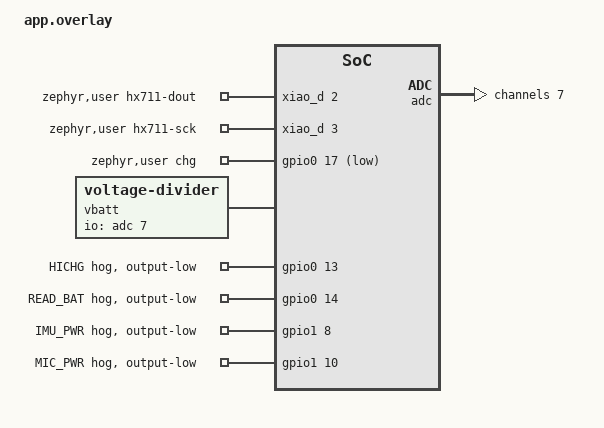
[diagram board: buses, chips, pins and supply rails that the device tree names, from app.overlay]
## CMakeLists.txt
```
# SPDX-FileCopyrightText: 2026 Hajo Harms
# SPDX-License-Identifier: MIT
#
# GasBee auf Seeed XIAO nRF52840 (nRF Connect SDK v3.4.1, Board xiao_ble)

cmake_minimum_required(VERSION 3.20.0)

find_package(Zephyr REQUIRED HINTS $ENV{ZEPHYR_BASE})
project(gasbee_nrf)

target_sources(app PRIVATE
    src/main.c
    src/hx711.c
    src/ble_gas.c
    src/battery.c
)
target_sources_ifdef(CONFIG_GASBEE_STATUS_LED app PRIVATE src/status_led.c)
```

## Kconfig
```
# SPDX-FileCopyrightText: 2026 Hajo Harms
# SPDX-License-Identifier: MIT
#
# GasBee nRF – projekteigene Kconfig-Optionen

menu "GasBee"

config GASBEE_STATUS_LED
	bool "RGB-Status-LED (Testmodus)"
	default n
	help
	  Zeigt den Betriebszustand auf der RGB-LED des XIAO:
	  Blau blinkt = Advertising, Blau an = verbunden,
	  Rot an = HX711 nicht bereit, Grün Blitz = Messung gesendet,
	  Grün 3 Blitze = Tare übernommen.
	  Einschalten mit -DEXTRA_CONF_FILE=debug.conf.

config GASBEE_MEASURE_INTERVAL_S
	int "Messintervall in Sekunden"
	default 300
	range 15 3600
	help
	  Abstand zwischen zwei Messzyklen (HX711 + Akku). Nach jeder Messung
	  folgt ein Advertising-Burst, danach schlafen HX711 und nRF.
	  Testmodus (debug.conf): 60 s.

endmenu

source "Kconfig.zephyr"
```

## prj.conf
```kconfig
# GasBee nRF – Projektkonfiguration (Normalbetrieb)
# UF2-Ausgabe und GPIO bringt das Board xiao_ble mit.

# Stromsparen: kein USB-Stack, keine USB-Konsole, kein Log.
# Gemessen 2026-10-18/19 im Akkubetrieb (Ruhestrom zwischen den Messungen):
#   mit USB-CDC-Konsole + Log: ca. 1,9 mA, ohne: 6,7 µA.
# Testmodus (debug.conf) schaltet USB-Konsole und Log wieder ein.
# Flashen per UF2-Bootloader und die VBUS-Erkennung (Konfigurationsmodus)
# funktionieren unabhängig davon.
CONFIG_BOARD_SERIAL_BACKEND_CDC_ACM=n
CONFIG_USB_DEVICE_STACK_NEXT=n
CONFIG_CDC_ACM_SERIAL_INITIALIZE_AT_BOOT=n
CONFIG_SERIAL=n
CONFIG_CONSOLE=n
CONFIG_UART_CONSOLE=n
CONFIG_LOG=n

# Bluetooth: Peripheral mit GATT-Server
CONFIG_BT=y
CONFIG_BT_PERIPHERAL=y
CONFIG_BT_DEVICE_NAME="GasBee"
CONFIG_BT_MAX_CONN=1
# Advertising-Set mit fester Paketzahl (Burst), Pakete bleiben Legacy-PDUs
CONFIG_BT_EXT_ADV=y

# Kalibrierung persistent (Settings auf NVS, Partition storage)
CONFIG_FLASH=y
CONFIG_FLASH_MAP=y
CONFIG_NVS=y
CONFIG_SETTINGS=y
CONFIG_SETTINGS_NVS=y

# Akkuspannung: voltage-divider (Sensor-API) auf SAADC AIN7, siehe app.overlay
CONFIG_SENSOR=y
CONFIG_ADC=y

# Stromsparen: Gerätezustände steuerbar, damit der unbenutzte QSPI-Flash
# (P25Q16H) beim Start in Deep Power-Down gehen kann (nur mit PM_DEVICE)
CONFIG_PM_DEVICE=y

# Stack für main (Settings, im Testmodus Float-Logging)
CONFIG_MAIN_STACK_SIZE=2048
```

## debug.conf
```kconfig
# GasBee nRF – Testmodus, zusätzlich zu prj.conf
# Build: west build ... -- -DEXTRA_CONF_FILE=debug.conf
# Status-LED, Messintervall 60 s, USB-CDC-Konsole + Log (/dev/ttyGASBEE_*).
# Kostet im Akkubetrieb ca. 1,9 mA statt 6,7 µA Ruhestrom – nur zum Testen.

CONFIG_GASBEE_STATUS_LED=y
CONFIG_GASBEE_MEASURE_INTERVAL_S=60

# USB-CDC-Konsole und Log (in prj.conf abgeschaltet)
CONFIG_BOARD_SERIAL_BACKEND_CDC_ACM=y
CONFIG_USB_DEVICE_STACK_NEXT=y
CONFIG_CDC_ACM_SERIAL_INITIALIZE_AT_BOOT=y
CONFIG_SERIAL=y
CONFIG_CONSOLE=y
CONFIG_UART_CONSOLE=y
CONFIG_LOG=y
CONFIG_LOG_DEFAULT_LEVEL=3
CONFIG_CBPRINTF_FP_SUPPORT=y
```

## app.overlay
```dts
/*
 * SPDX-FileCopyrightText: 2026 Hajo Harms
 * SPDX-License-Identifier: MIT
 *
 * GasBee nRF – HX711-Pins am XIAO-Connector
 *   DOUT   → D2 (P0.28), Pull-Up: offener Pin = "nicht bereit"
 *   PD_SCK → D3 (P0.29), High > 60 µs = HX711 Power-Down zwischen den Messungen
 * HX711 an 3V3 versorgen (nRF52840-GPIOs sind nicht 5-V-tolerant).
 *
 * Akkumessung laut Seeed-Schaltplan XIAO nRF52840 Sense:
 *   VBAT ─ R16 1 MΩ ─┬─ R17 510 kΩ ─ P0.14 (READ_BAT, "output sink only")
 *                    └─ P0.31 / AIN7
 * P0.14 bleibt per gpio-hog dauerhaft Low (Seeed-Empfehlung, sonst kann
 * P0.31 über 3,6 V kommen). Dauerstrom über den Teiler ca. 3 µA.
 */

#include <zephyr/dt-bindings/adc/nrf-saadc.h>

/ {
	zephyr,user {
		hx711-dout-gpios = <&xiao_d 2 (GPIO_ACTIVE_HIGH | GPIO_PULL_UP)>;
		hx711-sck-gpios = <&xiao_d 3 GPIO_ACTIVE_HIGH>;
		/* BQ25101 ~CHG (Schaltplan: P0.17_~{CHG}, Open-Drain mit Lade-LED 2,2 kΩ).
		 * Aktiv = lädt. Ohne USB ist der Lader stromlos → Pull-Up liest "lädt nicht". */
		chg-gpios = <&gpio0 17 (GPIO_ACTIVE_LOW | GPIO_PULL_UP)>;
	};

	vbatt: vbatt {
		compatible = "voltage-divider";
		io-channels = <&adc 7>;
		output-ohms = <510000>;
		full-ohms = <(1000000 + 510000)>;
	};
};

&gpio0 {
	/* Ladestrom BQ25101 (Schaltplan: ISET – R18 2,7 kΩ – GND, ISET – R12 2,7 kΩ – P0.13_HICHG).
	 * P0.13 Low → R12 parallel → 1,35 kΩ ≈ 100 mA; hochohmig ≈ 50 mA.
	 * Nicht High setzen: dann speisen 3,3 V über R12 in ISET.
	 * Akku 1000 mAh → 0,1C. */
	hichg: hichg {
		gpio-hog;
		gpios = <13 GPIO_ACTIVE_HIGH>;
		output-low;
		line-name = "HICHG";
	};

	read_bat_en: read-bat-en {
		gpio-hog;
		gpios = <14 GPIO_ACTIVE_HIGH>;
		output-low;
		line-name = "READ_BAT";
	};
};

/* Stromsparen: UART0 (D6/D7) wird nicht genutzt, das Log läuft über USB-CDC.
 * Der UARTE-Treiber startet sonst den Empfang beim Init und hält damit den
 * HF-Takt dauerhaft an. */
&uart0 {
	status = "disabled";
};

/* Sense-Variante: IMU (LSM6DS3TR-C) und Mikrofon werden direkt aus GPIOs
 * versorgt (Boardfile xiao_ble_nrf52840_sense.dts: P1.08, P1.10). Wir bauen
 * für xiao_ble, dort sind die Pins nicht definiert → fest Low = sicher aus. */
&gpio1 {
	imu_pwr_off: imu-pwr-off {
		gpio-hog;
		gpios = <8 GPIO_ACTIVE_HIGH>;
		output-low;
		line-name = "IMU_PWR";
	};

	mic_pwr_off: mic-pwr-off {
		gpio-hog;
		gpios = <10 GPIO_ACTIVE_HIGH>;
		output-low;
		line-name = "MIC_PWR";
	};
};

/* Das Boardfile legt pwm0 auf P0.17. Der Pin ist hier der Ladestatus-Eingang. */
&pwm0 {
	status = "disabled";
};

&adc {
	#address-cells = <1>;
	#size-cells = <0>;

	/* AIN7 = P0.31. Teiler-Ausgang max. 4,2 V × 510k/1510k ≈ 1,42 V,
	 * Gain 1/3 mit 0,6-V-Referenz ergibt 1,8 V Messbereich.
	 * Quellimpedanz ca. 340 kΩ → 40 µs Erfassungszeit (nRF-SAADC bis 800 kΩ). */
	channel@7 {
		reg = <7>;
		zephyr,gain = "ADC_GAIN_1_3";
		zephyr,reference = "ADC_REF_INTERNAL";
		zephyr,acquisition-time = <ADC_ACQ_TIME(ADC_ACQ_TIME_MICROSECONDS, 40)>;
		zephyr,input-positive = <NRF_SAADC_AIN7>;
		zephyr,resolution = <12>;
		zephyr,oversampling = <4>;
	};
};
```

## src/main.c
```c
/*
 * SPDX-FileCopyrightText: 2025-2026 Hajo Harms
 *
 * SPDX-License-Identifier: MIT
 */

/**
 * main.c – GasBee nRF Hauptprogramm
 *
 * Seeed XIAO nRF52840: HX711 Einzelkanal + Akku → BLE Advertising (Format v1)
 * GATT für Kalibrierung (nur im Konfigurationsmodus) und andere Clients.
 *
 * Ablauf:
 *  1. Settings (NVS) laden: offset / scale / tare
 *  2. BLE init, Advertising-Set anlegen
 *  3. Akkubetrieb: alle CONFIG_GASBEE_MEASURE_INTERVAL_S
 *     HX711 aufwecken → messen → Power-Down, Akku + Ladestatus lesen,
 *     Advertising-Burst (10 Pakete à 1 s), GATT-Notify falls verbunden.
 *     Fehlt der HX711, wird trotzdem gesendet (Gewicht ungültig, Flag Bit 0 = 0).
 *     Konfigurationsmodus (USB/VBUS): Messung alle 5 s, Dauersenden, Kalibrierung
 *     per GATT 0x2B11–0x2B13 freigegeben. USB ab → zurück in den Akkubetrieb.
 *  4. Tare-Befehl über GATT: wirkt nur auf die GATT-Werte, das Advertising
 *     überträgt immer das Bruttogewicht.
 */

#include <math.h>
#include <stdlib.h>
#include <limits.h>

#include <zephyr/kernel.h>
#include <zephyr/device.h>
#include <zephyr/pm/device.h>
#include <zephyr/drivers/gpio.h>
#include <zephyr/logging/log.h>
#include <zephyr/settings/settings.h>
#include <zephyr/sys/atomic.h>

#include "hx711.h"
#include "gasbee_config.h"
#include "ble_gas.h"
#include "status_led.h"
#include "battery.h"

LOG_MODULE_REGISTER(gasbee, LOG_LEVEL_INF);

// ── Kalibrierung (aus Settings ladbar) ───────────────────────────────────────
static int32_t s_offset = GASBEE_HX711_OFFSET;
static float   s_scale  = GASBEE_HX711_SCALE;
static float   s_tare   = 0.0f;   // Tara: Bruttogewicht der leeren Waage (nur GATT)

// Kalibrierung aus NVS geladen bzw. per GATT gespeichert (beide Werte)
// → Advertising-Flag "kalibriert"
static bool s_offset_from_nvs;
static bool s_scale_from_nvs;

static bool s_hx_ready;

// Konfigurationsmodus = USB-Spannung (VBUS) liegt an
static bool s_config_mode;

static atomic_t s_tare_request;

// Kalibrier-Befehle aus BLE (BT-Kontext → dort nur übernehmen)
static atomic_t s_cal_zero_request;
static atomic_t s_cal_ref_grams;     // 0 = keine Anforderung
static atomic_t s_cal_set_request;
static int32_t  s_cal_set_offset;
static float    s_cal_set_scale;

// Weckt die Mess-Schleife für eine sofortige Messung (Tare, Kalibrierung)
static K_SEM_DEFINE(s_wake, 0, 1);

#define ZEPHYR_USER DT_PATH(zephyr_user)

static hx711_t s_hx = {
	.dout   = GPIO_DT_SPEC_GET(ZEPHYR_USER, hx711_dout_gpios),
	.pd_sck = GPIO_DT_SPEC_GET(ZEPHYR_USER, hx711_sck_gpios),
	.gain   = HX711_GAIN_A_128,
};

// ── Settings: Kalibrierung laden/speichern ───────────────────────────────────
static int cal_settings_set(const char *name, size_t len,
			    settings_read_cb read_cb, void *cb_arg)
{
	const char *next;
	void *dst;
	size_t size;

	if (settings_name_steq(name, GASBEE_SETTINGS_KEY_OFFSET, &next) && !next) {
		dst = &s_offset; size = sizeof(s_offset);
	} else if (settings_name_steq(name, GASBEE_SETTINGS_KEY_SCALE, &next) && !next) {
		dst = &s_scale;  size = sizeof(s_scale);
	} else if (settings_name_steq(name, GASBEE_SETTINGS_KEY_TARE, &next) && !next) {
		dst = &s_tare;   size = sizeof(s_tare);
	} else {
		return -ENOENT;
	}

	if (len != size) {
		return -EINVAL;
	}
	int rc = read_cb(cb_arg, dst, size);
	if (rc < 0) {
		return rc;
	}
	if (dst == &s_offset) {
		s_offset_from_nvs = true;
	} else if (dst == &s_scale) {
		s_scale_from_nvs = true;
	}
	return 0;
}

SETTINGS_STATIC_HANDLER_DEFINE(gasbee, GASBEE_SETTINGS_SUBTREE, NULL,
			       cal_settings_set, NULL, NULL);

static void cal_load(void)
{
	int err = settings_subsys_init();
	if (err) {
		LOG_ERR("settings_subsys_init err=%d", err);
		return;
	}
	settings_load_subtree(GASBEE_SETTINGS_SUBTREE);
	LOG_INF("Kalibrierung geladen: offset=%d scale=%.8f tare=%.3f kg",
		s_offset, (double)s_scale, (double)s_tare);
}

static void cal_save_tare(void)
{
	int err = settings_save_one(GASBEE_SETTINGS_SUBTREE "/" GASBEE_SETTINGS_KEY_TARE,
				    &s_tare, sizeof(s_tare));
	if (err) {
		LOG_ERR("Tare speichern fehlgeschlagen err=%d", err);
	}
}

static void cal_save_offset(void)
{
	int err = settings_save_one(GASBEE_SETTINGS_SUBTREE "/" GASBEE_SETTINGS_KEY_OFFSET,
				    &s_offset, sizeof(s_offset));
	if (err) {
		LOG_ERR("Offset speichern fehlgeschlagen err=%d", err);
		return;
	}
	s_offset_from_nvs = true;
}

static void cal_save_scale(void)
{
	int err = settings_save_one(GASBEE_SETTINGS_SUBTREE "/" GASBEE_SETTINGS_KEY_SCALE,
				    &s_scale, sizeof(s_scale));
	if (err) {
		LOG_ERR("Scale speichern fehlgeschlagen err=%d", err);
		return;
	}
	s_scale_from_nvs = true;
}

// Kalibrierung aus NVS löschen → Startwerte aus gasbee_config.h, Flag "kalibriert" aus
static void cal_delete(void)
{
	settings_delete(GASBEE_SETTINGS_SUBTREE "/" GASBEE_SETTINGS_KEY_OFFSET);
	settings_delete(GASBEE_SETTINGS_SUBTREE "/" GASBEE_SETTINGS_KEY_SCALE);
	s_offset = GASBEE_HX711_OFFSET;
	s_scale  = GASBEE_HX711_SCALE;
	s_offset_from_nvs = false;
	s_scale_from_nvs  = false;
	LOG_INF("Kalibrierung gelöscht, Startwerte aktiv");
}

// ── Befehle aus BLE ──────────────────────────────────────────────────────────
// Laufen im BT-Kontext → nur übernehmen und die Mess-Schleife wecken
static void on_ble_tare(void)
{
	atomic_set(&s_tare_request, 1);
	k_sem_give(&s_wake);
	LOG_INF("Tare angefordert: nächste Messung wird als Tara übernommen");
}

static void on_cal_zero(void)
{
	atomic_set(&s_cal_zero_request, 1);
	k_sem_give(&s_wake);
}

static void on_cal_reference(uint32_t grams)
{
	atomic_set(&s_cal_ref_grams, (atomic_val_t)grams);
	k_sem_give(&s_wake);
}

static void on_cal_set(int32_t offset, float scale)
{
	s_cal_set_offset = offset;
	s_cal_set_scale  = scale;
	atomic_set(&s_cal_set_request, 1);
	k_sem_give(&s_wake);
}

static void on_cal_get(int32_t *offset, float *scale)
{
	*offset = s_offset;
	*scale  = s_scale;
}

static const ble_gas_cal_ops_t s_cal_ops = {
	.zero      = on_cal_zero,
	.reference = on_cal_reference,
	.set       = on_cal_set,
	.get       = on_cal_get,
};

// ── HX711 Messung ─────────────────────────────────────────────────────────────
static bool measure_gross(float *gross_kg_out, int32_t *raw_out)
{
	int32_t raw = 0;
	int64_t sum = 0;
	int     valid = 0;
	int32_t min_raw = INT32_MAX;
	int32_t max_raw = INT32_MIN;

	for (int i = 0; i < GASBEE_HX711_AVG_SAMPLES; i++) {
		if (hx711_wait(&s_hx, GASBEE_HX711_READY_TIMEOUT_MS) != 0) {
			LOG_WRN("HX711 nicht bereit (Sample %d)", i);
			continue;
		}
		if (hx711_read_data(&s_hx, &raw) == 0) {
			sum += raw;
			valid++;
			if (raw < min_raw) min_raw = raw;
			if (raw > max_raw) max_raw = raw;
		}
	}

	if (valid == 0) {
		LOG_ERR("Keine gültigen HX711-Messwerte");
		return false;
	}

	int32_t avg_raw = (int32_t)(sum / valid);

	// Diagnose: raw=0 → DOUT floating (Verdrahtung prüfen!)
	if (avg_raw == 0) {
		LOG_ERR("HX711 raw=0! DOUT floating? Verdrahtung prüfen:");
		LOG_ERR("  DOUT → D2 | PD_SCK → D3 | VCC → 3V3 | Load-Cell E+/E-/A+/A-?");
	}
	// Diagnose: alle Samples identisch → kein echtes HX711-Signal
	if (min_raw == max_raw && valid > 1) {
		LOG_WRN("HX711 alle %d Samples = %d (kein Rauschen, DOUT prüfen)", valid, avg_raw);
	}

	LOG_INF("HX711 raw=%d  min=%d  max=%d  offset=%d  delta=%d",
		avg_raw, min_raw, max_raw, s_offset, avg_raw - s_offset);

	*gross_kg_out = ((float)avg_raw - (float)s_offset) * s_scale;
	*raw_out      = avg_raw;
	return true;
}

// ── Gas-Berechnung ───────────────────────────────────────────────────────────
static void calc_gas(float weight_kg, float *net_kg_out, uint8_t *pct_out)
{
	float net = weight_kg - GASBEE_GAS_TARE_KG;
	if (net < 0.0f) net = 0.0f;
	if (net > GASBEE_GAS_FILL_KG) net = GASBEE_GAS_FILL_KG;

	float pct = (net / GASBEE_GAS_FILL_KG) * 100.0f;
	if (pct < 0.0f)   pct = 0.0f;
	if (pct > 100.0f) pct = 100.0f;

	*net_kg_out = net;
	*pct_out    = (uint8_t)roundf(pct);
}

// ── HX711 aufwecken / schlafen legen ─────────────────────────────────────────
// Nach Power-Up startet der HX711 auf Kanal A, Gain 128 (unsere Einstellung).
// Die ersten Wandlungen sind noch nicht eingeschwungen → verwerfen.
static bool hx711_wake(void)
{
	if (!s_hx_ready) {
		int err = hx711_init(&s_hx);   // enthält Power-Up + Gain setzen
		if (err) {
			LOG_WRN("HX711 nicht bereit (err=%d)", err);
			return false;
		}
		s_hx_ready = true;
		LOG_INF("HX711 bereit (DOUT=D2, PD_SCK=D3)");
	} else {
		hx711_power_down(&s_hx, false);
	}

	int32_t raw;
	for (int i = 0; i < GASBEE_HX711_DISCARD_SAMPLES; i++) {
		if (hx711_wait(&s_hx, GASBEE_HX711_WAKE_TIMEOUT_MS) != 0) {
			LOG_WRN("HX711 nach Power-Up nicht bereit");
			return false;
		}
		hx711_read_data(&s_hx, &raw);
	}
	return true;
}

static void hx711_sleep(void)
{
	if (s_hx_ready) {
		hx711_power_down(&s_hx, true);   // PD_SCK high > 60 µs
	}
}

// ── Kalibrier-Befehle ausführen (Mess-Schleife) ──────────────────────────────
// Direkt gesetzte Werte (0x2B13) brauchen keine Messung.
static bool cal_apply_set_request(void)
{
	if (!atomic_cas(&s_cal_set_request, 1, 0)) {
		return false;
	}
	if (s_cal_set_scale == 0.0f) {
		cal_delete();
		return true;
	}
	s_offset = s_cal_set_offset;
	s_scale  = s_cal_set_scale;
	cal_save_offset();
	cal_save_scale();
	LOG_INF("Kalibrierung gespeichert: offset=%d scale=%.10f", s_offset, (double)s_scale);
	return true;
}

// Nullpunkt (0x2B11) und Referenzgewicht (0x2B12) brauchen den aktuellen Rohwert.
static bool cal_handle_measured(int32_t raw)
{
	bool done = false;

	if (atomic_cas(&s_cal_zero_request, 1, 0)) {
		s_offset = raw;
		cal_save_offset();
		LOG_INF("Kalibrierung: Nullpunkt gespeichert, offset=%d", s_offset);
		done = true;
	}

	uint32_t grams = (uint32_t)atomic_set(&s_cal_ref_grams, 0);
	if (grams) {
		int32_t delta = raw - s_offset;
		if (abs(delta) < GASBEE_CAL_MIN_DELTA_RAW) {
			LOG_ERR("Kalibrierung: kein Gewicht erkennbar (delta=%d), Scale unverändert", delta);
		} else {
			// Negatives Scale ist erlaubt (Wägezelle andersherum angeschlossen)
			s_scale = ((float)grams / 1000.0f) / (float)delta;
			cal_save_scale();
			LOG_INF("Kalibrierung: %u g bei delta=%d → scale=%.10f gespeichert",
				grams, delta, (double)s_scale);
			done = true;
		}
	}
	return done;
}

static void cal_drop_measured(void)
{
	bool zero = atomic_cas(&s_cal_zero_request, 1, 0);
	bool ref  = atomic_set(&s_cal_ref_grams, 0) != 0;

	if (zero || ref) {
		LOG_ERR("Kalibrierung verworfen: HX711 liefert keinen Messwert");
	}
}

// ── Ein Messzyklus ────────────────────────────────────────────────────────────
static void measure_cycle(void)
{
	float   gross_kg = 0.0f;
	int32_t raw = 0;
	bool    cal_done = cal_apply_set_request();
	bool    hx_ok = hx711_wake() && measure_gross(&gross_kg, &raw);

	hx711_sleep();

	if (hx_ok) {
		if (cal_handle_measured(raw)) {
			cal_done = true;
		}
		// nach einer Kalibrierung mit den neuen Werten rechnen
		gross_kg = ((float)raw - (float)s_offset) * s_scale;
	} else {
		cal_drop_measured();
	}

	uint16_t bat_mv = GASBEE_ADV_BAT_INVALID;
	int err = battery_read_mv(&bat_mv);
	if (err) {
		LOG_ERR("Akkumessung fehlgeschlagen err=%d", err);
		bat_mv = GASBEE_ADV_BAT_INVALID;
	}
	bool charging = battery_is_charging();

	uint8_t flags = 0;
	int16_t weight_10g = GASBEE_ADV_WEIGHT_INVALID;
	bool tared = false;

	if (hx_ok) {
		flags |= GASBEE_ADV_FLAG_HX711_OK;

		// Advertising: Bruttogewicht ohne Tara, 10 g, 0x8000 bleibt reserviert
		float w = roundf(gross_kg * 100.0f);
		w = CLAMP(w, (float)(INT16_MIN + 1), (float)INT16_MAX);
		weight_10g = (int16_t)w;

		// GATT (Kompatibilität mit dem bisherigen Sensorboard): wie bisher nach Tara
		if (atomic_cas(&s_tare_request, 1, 0)) {
			s_tare = gross_kg;
			cal_save_tare();
			tared = true;
			LOG_INF("Tare übernommen: %.3f kg", (double)s_tare);
		}
		float   weight_kg = gross_kg - s_tare;
		float   net_kg    = 0.0f;
		uint8_t pct       = 0;
		calc_gas(weight_kg, &net_kg, &pct);
		ble_gas_notify(weight_kg, net_kg, pct);
	}
	if (charging) {
		flags |= GASBEE_ADV_FLAG_CHARGING;
	}
	if (s_config_mode) {
		flags |= GASBEE_ADV_FLAG_CONFIG_MODE;
	}
	if (s_offset_from_nvs && s_scale_from_nvs) {
		flags |= GASBEE_ADV_FLAG_CALIBRATED;
	}

	LOG_INF("Brutto=%.2f kg | Akku=%u mV%s | HX711 %s",
		(double)gross_kg, bat_mv, charging ? " (lädt)" : "", hx_ok ? "ok" : "FEHLER");

	if (bat_mv != GASBEE_ADV_BAT_INVALID) {
		ble_gas_notify_battery(bat_mv);
	}
	ble_gas_adv_publish(weight_10g, bat_mv, flags);

	status_led_hx711_ok(hx_ok);
	if (tared || cal_done) {
		status_led_flash_tare();
	} else if (hx_ok) {
		status_led_flash_measure();
	}
}

// ── Externer QSPI-Flash (P25Q16H) ───────────────────────────────────────────
// Wird nicht genutzt (Settings liegen im internen Flash). Suspend schickt ihn
// in Deep Power-Down und schaltet die QSPI-Peripherie ab.
static void ext_flash_sleep(void)
{
	const struct device *flash = DEVICE_DT_GET_OR_NULL(DT_NODELABEL(p25q16h));

	if (!flash || !device_is_ready(flash)) {
		return;
	}
	int err = pm_device_action_run(flash, PM_DEVICE_ACTION_SUSPEND);
	if (err && err != -EALREADY) {
		LOG_WRN("QSPI-Flash Suspend err=%d", err);
	} else {
		LOG_INF("QSPI-Flash in Deep Power-Down");
	}
}

// ── main ──────────────────────────────────────────────────────────────────────
int main(void)
{
	LOG_INF("GasBee startet (XIAO nRF52840), Messintervall %d s",
		CONFIG_GASBEE_MEASURE_INTERVAL_S);

	ext_flash_sleep();
	status_led_init();
	cal_load();
	battery_init();

	if (ble_gas_init() != 0) {
		LOG_ERR("BLE nicht verfügbar – nur lokale Messung");
	}
	ble_gas_set_tare_callback(on_ble_tare);
	ble_gas_set_cal_ops(&s_cal_ops);

	k_msleep(GASBEE_HX711_STARTUP_MS);

	// Feste Taktung: Intervall zählt ab Zyklusbeginn, nicht ab Zyklusende.
	// Alle GASBEE_USB_POLL_MS wird VBUS abgefragt: USB an → Konfigurationsmodus
	// (Dauersenden, 5-s-Takt, Kalibrierung frei), USB ab → Akkubetrieb.
	// Ein Befehl über BLE (Tare, Kalibrierung) löst sofort eine Zusatzmessung
	// aus, der Takt bleibt dabei erhalten.
	int64_t next_ms = k_uptime_get();

	while (1) {
		int64_t now = k_uptime_get();

		bool usb = battery_usb_present();
		if (usb != s_config_mode) {
			s_config_mode = usb;
			LOG_INF("USB %s → %s", usb ? "an" : "ab",
				usb ? "Konfigurationsmodus" : "Akkubetrieb");
			ble_gas_set_config_mode(usb);
			next_ms = now;   // sofort messen, dann im neuen Takt
		}

		if (now >= next_ms) {
			int64_t interval_ms = s_config_mode
				? (int64_t)GASBEE_CONFIG_MEASURE_MS
				: (int64_t)CONFIG_GASBEE_MEASURE_INTERVAL_S * MSEC_PER_SEC;

			measure_cycle();
			next_ms += interval_ms;
			if (next_ms <= now) {
				next_ms = now + interval_ms;   // keine verpassten Zyklen nachholen
			}
		}

		// Bis zur nächsten Messung warten, spätestens bis zur nächsten VBUS-Abfrage
		int64_t wake_ms = MIN(next_ms, k_uptime_get() + GASBEE_USB_POLL_MS);

		if (k_sem_take(&s_wake, K_TIMEOUT_ABS_MS(wake_ms)) == 0) {
			LOG_INF("Befehl über BLE → sofort messen");
			measure_cycle();
		}
	}
	return 0;
}
```

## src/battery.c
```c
/*
 * SPDX-FileCopyrightText: 2026 Hajo Harms
 *
 * SPDX-License-Identifier: MIT
 */

/**
 * battery.c – Akkuspannung und Ladestatus
 *
 * Teiler und ADC-Kanal stehen in app.overlay (Knoten vbatt). Der Treiber
 * voltage-divider rechnet das Teilerverhältnis heraus und liefert VBAT.
 * Ladestatus: BQ25101 ~CHG an P0.17 (zephyr,user chg-gpios, aktiv = lädt).
 * USB: VBUS-Erkennung des nRF52840 (POWER.USBREGSTATUS), nur lesend – der
 *      USB-Stack des Boards bleibt unberührt.
 * Aufgerufen wird alles aus der Mess-Schleife in main.c.
 */

#include "battery.h"

#include <zephyr/kernel.h>
#include <zephyr/device.h>
#include <zephyr/drivers/gpio.h>
#include <zephyr/drivers/sensor.h>
#include <zephyr/logging/log.h>
#include <hal/nrf_power.h>

LOG_MODULE_REGISTER(battery, LOG_LEVEL_INF);

static const struct device *const s_vbatt = DEVICE_DT_GET(DT_NODELABEL(vbatt));
static const struct gpio_dt_spec s_chg = GPIO_DT_SPEC_GET(DT_PATH(zephyr_user), chg_gpios);

static bool s_chg_ready;

int battery_init(void)
{
	if (gpio_is_ready_dt(&s_chg) && gpio_pin_configure_dt(&s_chg, GPIO_INPUT) == 0) {
		s_chg_ready = true;
	} else {
		LOG_ERR("Ladestatus-Pin nicht verfügbar");
	}

	if (!device_is_ready(s_vbatt)) {
		LOG_ERR("voltage-divider nicht bereit");
		return -ENODEV;
	}
	return 0;
}

int battery_read_mv(uint16_t *mv_out)
{
	struct sensor_value val;

	int err = sensor_sample_fetch(s_vbatt);
	if (err) {
		return err;
	}
	err = sensor_channel_get(s_vbatt, SENSOR_CHAN_VOLTAGE, &val);
	if (err) {
		return err;
	}

	int32_t mv = val.val1 * 1000 + val.val2 / 1000;
	if (mv < 0) {
		mv = 0;
	}
	// 0xFFFF ist im Advertising "ungültig"
	*mv_out = (uint16_t)MIN(mv, UINT16_MAX - 1);
	return 0;
}

bool battery_usb_present(void)
{
	return nrf_power_usbregstatus_vbusdet_get(NRF_POWER);
}

bool battery_is_charging(void)
{
	return s_chg_ready && gpio_pin_get_dt(&s_chg) == 1;
}
```

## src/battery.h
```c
/*
 * SPDX-FileCopyrightText: 2026 Hajo Harms
 *
 * SPDX-License-Identifier: MIT
 */

/**
 * battery.h – Akku (LiPo am XIAO): Spannung über voltage-divider, Ladestatus über BQ25101 ~CHG
 */

#pragma once

#include <stdbool.h>
#include <stdint.h>

/** Treiber und Ladestatus-Pin prüfen. */
int battery_init(void);

/** Akkuspannung in mV messen (blockiert kurz für die ADC-Wandlung). */
int battery_read_mv(uint16_t *mv_out);

/** true, wenn USB-Spannung (VBUS) anliegt – Netzteil oder PC. */
bool battery_usb_present(void);

/** true, solange der Lader lädt (nur mit USB-Versorgung möglich). */
bool battery_is_charging(void);
```

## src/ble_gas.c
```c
/*
 * SPDX-FileCopyrightText: 2025-2026 Hajo Harms
 *
 * SPDX-License-Identifier: MIT
 */

/**
 * ble_gas.c – BLE GATT Server für GasBee (Zephyr Bluetooth)
 *
 * Protokollgleich mit firmware/gasbee (ESP32-C3, NimBLE):
 * Service:        4a5b6c7d-8e9f-0a1b-2c3d-4e5f60718293
 * Characteristics:
 *   0x2B01  Weight_kg   float32, little-endian, Read + Notify
 *   0x2B02  Gas_pct     uint8,   Read + Notify
 *   0x2B03  Net_gas_kg  float32, little-endian, Read + Notify
 *   0x2B04  Bat_mV      uint16,  little-endian, Read + Notify (nur GasBee nRF)
 *   0x2B10  Tare        uint8 Write (0x01 = auslösen)
 *   0x2B11  Cal_zero    uint8 Write (0x01 = Nullpunkt, Waage leer)
 *   0x2B12  Cal_ref_g   uint32 LE Write (aufgelegtes Gewicht in Gramm)
 *   0x2B13  Cal_values  int32 Offset + float32 Scale (LE), Read + Write
 *                       (Scale = 0 löscht die Kalibrierung)
 */

#include "ble_gas.h"
#include "gasbee_config.h"
#include "status_led.h"

#include <zephyr/kernel.h>
#include <zephyr/logging/log.h>
#include <zephyr/bluetooth/bluetooth.h>
#include <zephyr/bluetooth/conn.h>
#include <zephyr/bluetooth/gatt.h>
#include <zephyr/bluetooth/uuid.h>
#include <zephyr/sys/atomic.h>
#include <zephyr/sys/byteorder.h>

#include <math.h>
#include <string.h>

LOG_MODULE_REGISTER(ble_gas, LOG_LEVEL_INF);

// ── Interne Zustandsvariablen ─────────────────────────────────────────────────
static ble_gas_tare_cb_t s_tare_cb;

// Konfigurationsmodus (USB/VBUS): Dauersenden, Kalibrier-Befehle freigegeben
static atomic_t s_config_mode;

static float   s_weight_kg;
static float   s_net_gas_kg;
static uint8_t s_gas_pct;
static uint16_t s_bat_mv;

static struct bt_uuid_128 s_svc_uuid = BT_UUID_INIT_128(GASBEE_BLE_SERVICE_UUID_VAL);

// ── GATT Access Callbacks ─────────────────────────────────────────────────────

static ssize_t chr_read(struct bt_conn *conn, const struct bt_gatt_attr *attr,
			void *buf, uint16_t len, uint16_t offset)
{
	// attr->user_data zeigt auf die jeweilige Zustandsvariable
	size_t size = (attr->user_data == &s_gas_pct) ? sizeof(s_gas_pct)
		    : (attr->user_data == &s_bat_mv)  ? sizeof(s_bat_mv)
		    : sizeof(float);

	return bt_gatt_attr_read(conn, attr, buf, len, offset, attr->user_data, size);
}

static ssize_t chr_tare_write(struct bt_conn *conn, const struct bt_gatt_attr *attr,
			      const void *buf, uint16_t len, uint16_t offset, uint8_t flags)
{
	if (offset != 0) {
		return BT_GATT_ERR(BT_ATT_ERR_INVALID_OFFSET);
	}
	if (len >= 1 && ((const uint8_t *)buf)[0] == 0x01 && s_tare_cb) {
		LOG_INF("Tare-Befehl empfangen");
		s_tare_cb();
	}
	return len;
}

// ── Kalibrierung (0x2B11..0x2B13) ────────────────────────────────────────────
// Nur im Konfigurationsmodus (USB) erlaubt, sonst ATT-Fehler "Write Not Permitted".
// Die Write-Callbacks prüfen nur das Format und reichen den Befehl an main.c
// weiter. Messen und Speichern passiert in der Mess-Schleife, nicht im BT-Kontext.
static const ble_gas_cal_ops_t *s_cal_ops;

static ssize_t chr_cal_zero_write(struct bt_conn *conn, const struct bt_gatt_attr *attr,
				  const void *buf, uint16_t len, uint16_t offset, uint8_t flags)
{
	if (offset != 0) {
		return BT_GATT_ERR(BT_ATT_ERR_INVALID_OFFSET);
	}
	if (!atomic_get(&s_config_mode)) {
		return BT_GATT_ERR(BT_ATT_ERR_WRITE_NOT_PERMITTED);   // nur mit USB
	}
	if (len != 1 || ((const uint8_t *)buf)[0] != 0x01) {
		return BT_GATT_ERR(BT_ATT_ERR_VALUE_NOT_ALLOWED);
	}
	if (!s_cal_ops || !s_cal_ops->zero) {
		return BT_GATT_ERR(BT_ATT_ERR_UNLIKELY);
	}
	LOG_INF("Kalibrierung: Nullpunkt angefordert");
	s_cal_ops->zero();
	return len;
}

static ssize_t chr_cal_ref_write(struct bt_conn *conn, const struct bt_gatt_attr *attr,
				 const void *buf, uint16_t len, uint16_t offset, uint8_t flags)
{
	if (offset != 0) {
		return BT_GATT_ERR(BT_ATT_ERR_INVALID_OFFSET);
	}
	if (!atomic_get(&s_config_mode)) {
		return BT_GATT_ERR(BT_ATT_ERR_WRITE_NOT_PERMITTED);   // nur mit USB
	}
	if (len != sizeof(uint32_t)) {
		return BT_GATT_ERR(BT_ATT_ERR_INVALID_ATTRIBUTE_LEN);
	}
	uint32_t grams = sys_get_le32(buf);
	if (grams == 0 || grams > GASBEE_CAL_REF_MAX_G) {
		return BT_GATT_ERR(BT_ATT_ERR_VALUE_NOT_ALLOWED);
	}
	if (!s_cal_ops || !s_cal_ops->reference) {
		return BT_GATT_ERR(BT_ATT_ERR_UNLIKELY);
	}
	LOG_INF("Kalibrierung: Referenzgewicht %u g angefordert", grams);
	s_cal_ops->reference(grams);
	return len;
}

// 8 Byte LE: int32 Offset, float32 Scale
static ssize_t chr_cal_values_read(struct bt_conn *conn, const struct bt_gatt_attr *attr,
				   void *buf, uint16_t len, uint16_t offset)
{
	int32_t off = 0;
	float   scale = 0.0f;
	uint8_t val[8];

	if (s_cal_ops && s_cal_ops->get) {
		s_cal_ops->get(&off, &scale);
	}
	uint32_t scale_bits;
	memcpy(&scale_bits, &scale, sizeof(scale_bits));
	sys_put_le32((uint32_t)off, &val[0]);
	sys_put_le32(scale_bits, &val[4]);

	return bt_gatt_attr_read(conn, attr, buf, len, offset, val, sizeof(val));
}

static ssize_t chr_cal_values_write(struct bt_conn *conn, const struct bt_gatt_attr *attr,
				    const void *buf, uint16_t len, uint16_t offset, uint8_t flags)
{
	if (offset != 0) {
		return BT_GATT_ERR(BT_ATT_ERR_INVALID_OFFSET);
	}
	if (!atomic_get(&s_config_mode)) {
		return BT_GATT_ERR(BT_ATT_ERR_WRITE_NOT_PERMITTED);   // nur mit USB
	}
	if (len != 8) {
		return BT_GATT_ERR(BT_ATT_ERR_INVALID_ATTRIBUTE_LEN);
	}
	int32_t  off = (int32_t)sys_get_le32(buf);
	uint32_t scale_bits = sys_get_le32((const uint8_t *)buf + 4);
	float    scale;
	memcpy(&scale, &scale_bits, sizeof(scale));

	// Scale = 0 → Kalibrierung löschen; sonst endlich und ≠ 0
	if (scale != 0.0f && !isfinite(scale)) {
		return BT_GATT_ERR(BT_ATT_ERR_VALUE_NOT_ALLOWED);
	}
	if (!s_cal_ops || !s_cal_ops->set) {
		return BT_GATT_ERR(BT_ATT_ERR_UNLIKELY);
	}
	LOG_INF("Kalibrierung: Werte gesetzt offset=%d scale=%.10f", off, (double)scale);
	s_cal_ops->set(off, scale);
	return len;
}

static void ccc_changed(const struct bt_gatt_attr *attr, uint16_t value)
{
	LOG_INF("Subscribe: notify=%d", value == BT_GATT_CCC_NOTIFY);
}

// ── GATT Service-Definition ───────────────────────────────────────────────────

BT_GATT_SERVICE_DEFINE(s_gas_svc,
	BT_GATT_PRIMARY_SERVICE(&s_svc_uuid),

	// [1..3] Gewicht kg (float, Read + Notify)
	BT_GATT_CHARACTERISTIC(BT_UUID_DECLARE_16(GASBEE_CHR_WEIGHT_KG),
			       BT_GATT_CHRC_READ | BT_GATT_CHRC_NOTIFY,
			       BT_GATT_PERM_READ, chr_read, NULL, &s_weight_kg),
	BT_GATT_CCC(ccc_changed, BT_GATT_PERM_READ | BT_GATT_PERM_WRITE),

	// [4..6] Füllstand % (uint8, Read + Notify)
	BT_GATT_CHARACTERISTIC(BT_UUID_DECLARE_16(GASBEE_CHR_GAS_PCT),
			       BT_GATT_CHRC_READ | BT_GATT_CHRC_NOTIFY,
			       BT_GATT_PERM_READ, chr_read, NULL, &s_gas_pct),
	BT_GATT_CCC(ccc_changed, BT_GATT_PERM_READ | BT_GATT_PERM_WRITE),

	// [7..9] Netto-Gas kg (float, Read + Notify)
	BT_GATT_CHARACTERISTIC(BT_UUID_DECLARE_16(GASBEE_CHR_GAS_NET_KG),
			       BT_GATT_CHRC_READ | BT_GATT_CHRC_NOTIFY,
			       BT_GATT_PERM_READ, chr_read, NULL, &s_net_gas_kg),
	BT_GATT_CCC(ccc_changed, BT_GATT_PERM_READ | BT_GATT_PERM_WRITE),

	// [10..12] Akkuspannung mV (uint16, Read + Notify)
	BT_GATT_CHARACTERISTIC(BT_UUID_DECLARE_16(GASBEE_CHR_BAT_MV),
			       BT_GATT_CHRC_READ | BT_GATT_CHRC_NOTIFY,
			       BT_GATT_PERM_READ, chr_read, NULL, &s_bat_mv),
	BT_GATT_CCC(ccc_changed, BT_GATT_PERM_READ | BT_GATT_PERM_WRITE),

	// [13..14] Tare-Befehl (Write)
	BT_GATT_CHARACTERISTIC(BT_UUID_DECLARE_16(GASBEE_CHR_TARE),
			       BT_GATT_CHRC_WRITE,
			       BT_GATT_PERM_WRITE, NULL, chr_tare_write, NULL),

	// [15..16] Kalibrierung Nullpunkt (Write 0x01, Waage leer)
	BT_GATT_CHARACTERISTIC(BT_UUID_DECLARE_16(GASBEE_CHR_CAL_ZERO),
			       BT_GATT_CHRC_WRITE,
			       BT_GATT_PERM_WRITE, NULL, chr_cal_zero_write, NULL),

	// [17..18] Kalibrierung Referenzgewicht (Write uint32 Gramm)
	BT_GATT_CHARACTERISTIC(BT_UUID_DECLARE_16(GASBEE_CHR_CAL_REF_G),
			       BT_GATT_CHRC_WRITE,
			       BT_GATT_PERM_WRITE, NULL, chr_cal_ref_write, NULL),

	// [19..20] Kalibrierwerte direkt (Read/Write int32 Offset + float32 Scale)
	BT_GATT_CHARACTERISTIC(BT_UUID_DECLARE_16(GASBEE_CHR_CAL_VALUES),
			       BT_GATT_CHRC_READ | BT_GATT_CHRC_WRITE,
			       BT_GATT_PERM_READ | BT_GATT_PERM_WRITE,
			       chr_cal_values_read, chr_cal_values_write, NULL),
);

// Indizes der Value-Attribute in s_gas_svc.attrs[]
#define ATTR_IDX_WEIGHT  2
#define ATTR_IDX_PCT     5
#define ATTR_IDX_NET     8
#define ATTR_IDX_BAT     11

// ── Advertising (Format v1) ───────────────────────────────────────────────────
// Akkubetrieb:          Burst aus GASBEE_ADV_BURST_COUNT Paketen nach jeder Messung
// Konfigurationsmodus:  (USB/VBUS vorhanden) dauerhaft senden, verbindbar

// Manufacturer Specific Data: Company-ID (LE) + 7 Byte Nutzdaten
enum {
	MSD_COMPANY  = 0,   // 2 Byte
	MSD_VERSION  = 2,
	MSD_WEIGHT   = 3,   // int16 LE, 10 g
	MSD_BAT_MV   = 5,   // uint16 LE
	MSD_SEQ      = 7,
	MSD_FLAGS    = 8,
	MSD_LEN      = 9,
};

static uint8_t s_msd[MSD_LEN];
static uint8_t s_seq;
static bool    s_msd_valid;   // erst nach der ersten Messung senden

static const struct bt_data s_ad[] = {
	BT_DATA_BYTES(BT_DATA_FLAGS, (BT_LE_AD_GENERAL | BT_LE_AD_NO_BREDR)),
	// Name im Advertising (nicht Scan-Response): Sensorboard filtert darauf
	BT_DATA(BT_DATA_NAME_COMPLETE, GASBEE_BLE_DEVICE_NAME,
		sizeof(GASBEE_BLE_DEVICE_NAME) - 1),
	BT_DATA(BT_DATA_MANUFACTURER_DATA, s_msd, sizeof(s_msd)),
};

#define ADV_INTERVAL ((GASBEE_BLE_ADV_INTERVAL_MS * 1000) / 625)  // Einheit 0,625 ms

static struct bt_le_ext_adv *s_adv;
static atomic_t s_connected;
static atomic_t s_adv_running;

// Burst beendet (alle Pakete gesendet) bzw. Advertising durch Verbindung beendet
static void adv_sent(struct bt_le_ext_adv *adv, struct bt_le_ext_adv_sent_info *info)
{
	atomic_set(&s_adv_running, 0);
	LOG_INF("Burst fertig (%u Pakete)", info->num_sent);
	status_led_ble_off();
}

static void adv_connected(struct bt_le_ext_adv *adv, struct bt_le_ext_adv_connected_info *info)
{
	atomic_set(&s_adv_running, 0);
}

static const struct bt_le_ext_adv_cb s_adv_cb = {
	.sent      = adv_sent,
	.connected = adv_connected,
};

// Daten setzen und starten: num_events = 0 → dauerhaft (Konfigurationsmodus)
static int adv_start(uint8_t num_events)
{
	bt_le_ext_adv_stop(s_adv);   // falls noch ein Burst läuft
	atomic_set(&s_adv_running, 0);

	int err = bt_le_ext_adv_set_data(s_adv, s_ad, ARRAY_SIZE(s_ad), NULL, 0);
	if (err) {
		LOG_ERR("adv_set_data err=%d", err);
		return err;
	}
	err = bt_le_ext_adv_start(s_adv, BT_LE_EXT_ADV_START_PARAM(0, num_events));
	if (err) {
		LOG_ERR("adv_start err=%d", err);
		status_led_ble_off();
		return err;
	}
	atomic_set(&s_adv_running, 1);
	status_led_ble_adv();
	return 0;
}

// Konfigurationsmodus: nach Trennen wieder dauerhaft senden (nicht im BT-Kontext)
static void adv_restart_handler(struct k_work *work)
{
	if (atomic_get(&s_config_mode) && s_msd_valid && !atomic_get(&s_connected)) {
		adv_start(0);
	}
}
static K_WORK_DEFINE(s_adv_restart_work, adv_restart_handler);

// ── Verbindungs-Callbacks ─────────────────────────────────────────────────────

static void on_connected(struct bt_conn *conn, uint8_t err)
{
	if (err) {
		LOG_INF("Verbindung fehlgeschlagen (err=%u)", err);
		return;
	}
	atomic_set(&s_connected, 1);
	LOG_INF("Verbunden");
	status_led_ble_connected();
}

static void on_disconnected(struct bt_conn *conn, uint8_t reason)
{
	atomic_set(&s_connected, 0);
	LOG_INF("Getrennt: reason=0x%02x", reason);
	status_led_ble_off();
}

// Verbindungsobjekt freigegeben → im Konfigurationsmodus weiter senden
static void on_recycled(void)
{
	k_work_submit(&s_adv_restart_work);
}

BT_CONN_CB_DEFINE(s_conn_cb) = {
	.connected    = on_connected,
	.disconnected = on_disconnected,
	.recycled     = on_recycled,
};

static void disconnect_cb(struct bt_conn *conn, void *data)
{
	bt_conn_disconnect(conn, BT_HCI_ERR_REMOTE_USER_TERM_CONN);
}

// ── Öffentliche API ───────────────────────────────────────────────────────────

int ble_gas_init(void)
{
	int err = bt_enable(NULL);
	if (err) {
		LOG_ERR("bt_enable err=%d", err);
		return err;
	}

	// Legacy-PDU (ohne BT_LE_ADV_OPT_EXT_ADV), verbindbar für GATT
	err = bt_le_ext_adv_create(BT_LE_ADV_PARAM(BT_LE_ADV_OPT_CONN, ADV_INTERVAL,
						   ADV_INTERVAL, NULL),
				   &s_adv_cb, &s_adv);
	if (err) {
		LOG_ERR("ext_adv_create err=%d", err);
		return err;
	}

	LOG_INF("BLE GATT Server initialisiert");
	return 0;
}

void ble_gas_set_config_mode(bool on)
{
	if (atomic_set(&s_config_mode, on ? 1 : 0) == (on ? 1 : 0)) {
		return;   // unverändert
	}
	if (on) {
		LOG_INF("Konfigurationsmodus (USB): dauerhaft senden, Kalibrierung freigegeben");
		// gestartet wird mit der nächsten Messung (ble_gas_adv_publish)
	} else {
		LOG_INF("Akkubetrieb: Burst-Modus, Kalibrierung gesperrt");
		if (s_adv) {
			bt_le_ext_adv_stop(s_adv);
			atomic_set(&s_adv_running, 0);
		}
		bt_conn_foreach(BT_CONN_TYPE_LE, disconnect_cb, NULL);
		status_led_ble_off();
	}
}

void ble_gas_adv_publish(int16_t weight_10g, uint16_t bat_mv, uint8_t flags)
{
	if (!s_adv) {
		return;
	}

	s_seq++;
	sys_put_le16(GASBEE_ADV_COMPANY_ID, &s_msd[MSD_COMPANY]);
	s_msd[MSD_VERSION] = GASBEE_ADV_FORMAT_VERSION;
	sys_put_le16((uint16_t)weight_10g, &s_msd[MSD_WEIGHT]);
	sys_put_le16(bat_mv, &s_msd[MSD_BAT_MV]);
	s_msd[MSD_SEQ]   = s_seq;
	s_msd[MSD_FLAGS] = flags;
	s_msd_valid      = true;

	if (atomic_get(&s_connected)) {
		// Verbindbares Advertising geht mit CONFIG_BT_MAX_CONN=1 nicht parallel
		LOG_INF("Verbunden – kein Advertising, Werte nur per GATT (seq=%u)", s_seq);
		return;
	}

	if (atomic_get(&s_config_mode)) {
		// Dauersenden: läuft es schon, nur die Daten tauschen
		if (atomic_get(&s_adv_running)) {
			int err = bt_le_ext_adv_set_data(s_adv, s_ad, ARRAY_SIZE(s_ad), NULL, 0);
			if (err) {
				LOG_ERR("adv_set_data err=%d", err);
			}
		} else if (adv_start(0) == 0) {
			LOG_INF("Dauersenden gestartet (Konfigurationsmodus)");
		}
		return;
	}

	if (adv_start(GASBEE_ADV_BURST_COUNT) == 0) {
		LOG_INF("Burst gestartet: seq=%u Gewicht=%d×10g Akku=%u mV Flags=0x%02x",
			s_seq, weight_10g, bat_mv, flags);
	}
}

void ble_gas_notify(float weight_kg, float net_gas_kg, uint8_t gas_pct)
{
	s_weight_kg  = weight_kg;
	s_net_gas_kg = net_gas_kg;
	s_gas_pct    = gas_pct;

	// Ohne verbundenen/abonnierten Client liefert bt_gatt_notify einen Fehler → ignorieren
	bt_gatt_notify(NULL, &s_gas_svc.attrs[ATTR_IDX_WEIGHT], &s_weight_kg, sizeof(s_weight_kg));
	bt_gatt_notify(NULL, &s_gas_svc.attrs[ATTR_IDX_NET], &s_net_gas_kg, sizeof(s_net_gas_kg));
	bt_gatt_notify(NULL, &s_gas_svc.attrs[ATTR_IDX_PCT], &s_gas_pct, sizeof(s_gas_pct));
}

void ble_gas_notify_battery(uint16_t bat_mv)
{
	s_bat_mv = bat_mv;
	bt_gatt_notify(NULL, &s_gas_svc.attrs[ATTR_IDX_BAT], &s_bat_mv, sizeof(s_bat_mv));
}

void ble_gas_set_tare_callback(ble_gas_tare_cb_t cb)
{
	s_tare_cb = cb;
}

void ble_gas_set_cal_ops(const ble_gas_cal_ops_t *ops)
{
	s_cal_ops = ops;
}
```

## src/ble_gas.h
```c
/*
 * SPDX-FileCopyrightText: 2025-2026 Hajo Harms
 *
 * SPDX-License-Identifier: MIT
 */

/**
 * ble_gas.h – BLE GATT Server für GasBee (Zephyr Bluetooth)
 */

#pragma once

#include <stdbool.h>
#include <stdint.h>

/** Bluetooth starten, GATT-Service registrieren, Advertising-Set anlegen. */
int ble_gas_init(void);

/** Werte aktualisieren und an abonnierte Clients senden. */
void ble_gas_notify(float weight_kg, float net_gas_kg, uint8_t gas_pct);

/** Akkuspannung aktualisieren und senden (0x2B04, uint16 mV). */
void ble_gas_notify_battery(uint16_t bat_mv);

/**
 * Advertising-Format v1 setzen und einen Burst starten
 * (GASBEE_ADV_BURST_COUNT Pakete), im Konfigurationsmodus Dauersenden.
 * Der Sequenzzähler zählt intern hoch.
 * Bei bestehender Verbindung wird kein Burst gestartet.
 *
 * @param weight_10g Bruttogewicht in 10 g oder GASBEE_ADV_WEIGHT_INVALID
 * @param bat_mv     Akkuspannung in mV oder GASBEE_ADV_BAT_INVALID
 * @param flags      GASBEE_ADV_FLAG_*
 */
void ble_gas_adv_publish(int16_t weight_10g, uint16_t bat_mv, uint8_t flags);

/**
 * Konfigurationsmodus (USB/VBUS vorhanden) ein/aus.
 * Ein:  dauerhaft verbindbar senden (ab der nächsten Messung), Kalibrierung erlaubt.
 * Aus:  Advertising stoppen, Verbindungen trennen, danach wieder Burst-Modus.
 */
void ble_gas_set_config_mode(bool on);

typedef void (*ble_gas_tare_cb_t)(void);

/** Callback für den Tare-Befehl (Write 0x01 auf 0x2B10). */
void ble_gas_set_tare_callback(ble_gas_tare_cb_t cb);

/**
 * Kalibrier-Befehle über GATT. Die Callbacks laufen im BT-Kontext: nur
 * übernehmen und die Mess-Schleife wecken, nicht messen oder Flash schreiben.
 */
typedef struct {
	void (*zero)(void);                         // 0x2B11: Nullpunkt (Waage leer)
	void (*reference)(uint32_t grams);          // 0x2B12: bekanntes Gewicht aufgelegt
	void (*set)(int32_t offset, float scale);   // 0x2B13 Write: scale = 0 → löschen
	void (*get)(int32_t *offset, float *scale); // 0x2B13 Read
} ble_gas_cal_ops_t;

void ble_gas_set_cal_ops(const ble_gas_cal_ops_t *ops);
```

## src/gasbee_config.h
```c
/*
 * SPDX-FileCopyrightText: 2025-2026 Hajo Harms
 *
 * SPDX-License-Identifier: MIT
 */

#pragma once

#include <stdint.h>
#include <zephyr/sys/util.h>

/* GasBee nRF – Seeed XIAO nRF52840 Konfiguration
 * Einzelkanal HX711 + BLE GATT (protokollgleich mit firmware/gasbee, ESP32-C3)
 * Pinout: DOUT=D2 (P0.28), PD_SCK=D3 (P0.29) → siehe app.overlay
 */

// ── HX711 ────────────────────────────────────────────────────────────────────
#define GASBEE_HX711_STARTUP_MS        1000U
#define GASBEE_HX711_READY_TIMEOUT_MS  200U
#define GASBEE_HX711_AVG_SAMPLES       5U          // Mehr Samples = stabiler
#define GASBEE_HX711_WAKE_TIMEOUT_MS   1000U       // erste Wandlung nach Power-Up
#define GASBEE_HX711_DISCARD_SAMPLES   4U          // Einschwingen nach Power-Up (Datenblatt: 400 ms bei 10 SPS)
// Messintervall: CONFIG_GASBEE_MEASURE_INTERVAL_S (Kconfig, Standard 300 s, debug.conf 60 s)

// Kalibrierung
// Grob-Kalibrierung XIAO + HX711 an 3,3 V, gemessen 2026-10-18 über das Advertising
// (Werte mit alter Kalibrierung OFFSET −278300 / SCALE 0.00003999):
//   leer:                −0,64 kg  (2 Zyklen)
//   14,285 kg aufgelegt: 13,805 kg (Mittel aus 4 Zyklen)
//   SCALE_neu  = 0.00003999 × 14,285 / (13,805 + 0,64)
//   OFFSET_neu = −0,64 / 0.00003999 − 278300  (Rohwert bei leerer Waage)
// Der Nullpunkt enthält alles, was fest auf der Wägezelle sitzt. Tara und
// Feinkalibrierung (Faktor pro GasBee-MAC) übernimmt das Sensorboard.
// Neu ermitteln: Waage leer → Rohwert = OFFSET; Gewicht m auflegen → raw_m;
//   SCALE = m / (raw_m − OFFSET)
#define GASBEE_HX711_OFFSET            -294304
#define GASBEE_HX711_SCALE             0.0000395471f  // kg pro raw-LSB (≈ 25 290 LSB/kg)
// Die Werte oben sind nur Startwerte (gemessen an GasBee 1, F7:8A:BE:C9:83:CB).
// Jeder GasBee wird per GATT kalibriert (0x2B11/0x2B12/0x2B13), das Ergebnis
// liegt pro Gerät in NVS. Erst dann ist Advertising-Flag Bit 2 "kalibriert" gesetzt.
#define GASBEE_CAL_MIN_DELTA_RAW       1000        // min. |raw − OFFSET| beim Referenzgewicht (≈ 40 g)
#define GASBEE_CAL_REF_MAX_G           200000U     // max. Referenzgewicht 200 kg

// Settings (NVS) – Kalibrierung persistent speichern
#define GASBEE_SETTINGS_SUBTREE        "gasbee"
#define GASBEE_SETTINGS_KEY_OFFSET     "offset"
#define GASBEE_SETTINGS_KEY_SCALE      "scale"
#define GASBEE_SETTINGS_KEY_TARE       "tare"

// ── Gas-Berechnung ───────────────────────────────────────────────────────────
#define GASBEE_GAS_FILL_KG             11.0f       // Netto einer vollen 11-kg-Flasche
#define GASBEE_GAS_TARE_KG             10.5f       // Tara-Gewicht (leer)

// ── BLE ──────────────────────────────────────────────────────────────────────
// Name muss exakt "GasBee" sein: Sensorboard filtert darauf (gasbee_ble_scanner.c)
#define GASBEE_BLE_DEVICE_NAME         "GasBee"

// Service UUID: 4a5b6c7d-8e9f-0a1b-2c3d-4e5f60718293 (identisch zu firmware/gasbee)
#define GASBEE_BLE_SERVICE_UUID_VAL \
	BT_UUID_128_ENCODE(0x4a5b6c7d, 0x8e9f, 0x0a1b, 0x2c3d, 0x4e5f60718293)

// Characteristics (16-bit short UUIDs, identisch zu firmware/gasbee)
#define GASBEE_CHR_WEIGHT_KG           0x2B01  // Gewicht in kg (float, Notify)
#define GASBEE_CHR_GAS_PCT             0x2B02  // Füllstand in % (uint8, Notify)
#define GASBEE_CHR_GAS_NET_KG          0x2B03  // Nettogewicht Gas in kg (float, Notify)
#define GASBEE_CHR_TARE                0x2B10  // Tara-Befehl (Write, 1 Byte: 0x01 = Tare)
#define GASBEE_CHR_CAL_ZERO            0x2B11  // Kalibrierung Nullpunkt (Write 0x01, Waage leer)
#define GASBEE_CHR_CAL_REF_G           0x2B12  // Kalibrierung Referenzgewicht (Write uint32 Gramm)
#define GASBEE_CHR_CAL_VALUES          0x2B13  // Kalibrierwerte int32 Offset + float32 Scale (Read/Write)

#define GASBEE_CHR_BAT_MV              0x2B04  // Akkuspannung in mV (uint16, Notify)

// ── Advertising-Format v1 (Manufacturer Specific Data) ───────────────────────
// Nach jeder Messung ein Burst aus GASBEE_ADV_BURST_COUNT Paketen im Abstand
// GASBEE_BLE_ADV_INTERVAL_MS, danach Funkstille bis zur nächsten Messung.
#define GASBEE_BLE_ADV_INTERVAL_MS     1000
#define GASBEE_ADV_BURST_COUNT         10
#define GASBEE_ADV_COMPANY_ID          0xFFFF  // SIG: Test/interne Nutzung
#define GASBEE_ADV_FORMAT_VERSION      1
#define GASBEE_ADV_WEIGHT_INVALID      INT16_MIN   // 0x8000
#define GASBEE_ADV_BAT_INVALID         UINT16_MAX  // 0xFFFF
#define GASBEE_ADV_FLAG_HX711_OK       BIT(0)
#define GASBEE_ADV_FLAG_CHARGING       BIT(1)  // BQ25101 ~CHG an P0.17
#define GASBEE_ADV_FLAG_CALIBRATED     BIT(2)  // Offset + Scale aus NVS (per GATT kalibriert)
#define GASBEE_ADV_FLAG_CONFIG_MODE    BIT(3)  // Konfigurationsmodus (USB): Dauersenden, Kalibrierung möglich

// ── Konfigurationsmodus (USB/VBUS vorhanden) ─────────────────────────────────
#define GASBEE_USB_POLL_MS             2000U   // VBUS-Abfrage, Moduswechsel spätestens nach 2 s
#define GASBEE_CONFIG_MEASURE_MS       5000U   // Messtakt im Konfigurationsmodus (live während der Kalibrierung)

// ── Status-LED (nur mit CONFIG_GASBEE_STATUS_LED) ────────────────────────────
#define GASBEE_LED_FLASH_MS            80     // Dauer eines Blitzes / einer Pause
#define GASBEE_LED_ADV_BLINK_MS        1000   // Blink-Periode Blau beim Advertising
```

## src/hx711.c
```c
/*
 * Copyright (c) 2019 Ruslan V. Uss <unclerus@gmail.com>
 * Zephyr-Port: 2026 Hajo Harms
 *
 * SPDX-License-Identifier: BSD-3-Clause
 *
 * Redistribution and use in source and binary forms, with or without
 * modification, are permitted provided that the following conditions are met:
 *
 * 1. Redistributions of source code must retain the above copyright notice,
 *    this list of conditions and the following disclaimer.
 * 2. Redistributions in binary form must reproduce the above copyright notice,
 *    this list of conditions and the following disclaimer in the documentation
 *    and/or other materials provided with the distribution.
 * 3. Neither the name of the copyright holder nor the names of itscontributors
 *    may be used to endorse or promote products derived from this software without
 *    specific prior written permission.
 *
 * THIS SOFTWARE IS PROVIDED BY THE COPYRIGHT HOLDERS AND CONTRIBUTORS "AS IS"
 * AND ANY EXPRESS OR IMPLIED WARRANTIES, INCLUDING, BUT NOT LIMITED TO, THE
 * IMPLIED WARRANTIES OF MERCHANTABILITY AND FITNESS FOR A PARTICULAR PURPOSE ARE
 * DISCLAIMED. IN NO EVENT SHALL THE COPYRIGHT HOLDER OR CONTRIBUTORS BE LIABLE
 * FOR ANY DIRECT, INDIRECT, INCIDENTAL, SPECIAL, EXEMPLARY, OR CONSEQUENTIAL
 * DAMAGES (INCLUDING, BUT NOT LIMITED TO, PROCUREMENT OF SUBSTITUTE GOODS OR
 * SERVICES; LOSS OF USE, DATA, OR PROFITS; OR BUSINESS INTERRUPTION) HOWEVER
 * CAUSED AND ON ANY THEORY OF LIABILITY, WHETHER IN CONTRACT, STRICT LIABILITY,
 * OR TORT (INCLUDING NEGLIGENCE OR OTHERWISE) ARISING IN ANY WAY OUT OF THE USE
 * OF THIS SOFTWARE, EVEN IF ADVISED OF THE POSSIBILITY OF SUCH DAMAGE.
 */

/**
 * hx711.c – HX711-Treiber, Zephyr-Port von esp-idf-lib/hx711
 *
 * Timing wie im ESP-Original: 10 µs high / 10 µs low (~50 kHz, langes Kabel).
 * Datenblatt: PD_SCK high max. 50 µs, sonst nach >60 µs Power-Down.
 * Deshalb läuft der Lesezyklus unter irq_lock().
 */

#include <errno.h>
#include <zephyr/kernel.h>
#include "hx711.h"

#define HX711_SCK_HALF_PERIOD_US 10

static uint32_t read_raw(const hx711_t *dev, hx711_gain_t gain)
{
	unsigned int key = irq_lock();

	// Daten lesen (MSB zuerst)
	uint32_t data = 0;
	for (int i = 0; i < 24; i++) {
		gpio_pin_set_dt(&dev->pd_sck, 1);
		k_busy_wait(HX711_SCK_HALF_PERIOD_US);
		data |= (uint32_t)(gpio_pin_get_dt(&dev->dout) & 1) << (23 - i);
		gpio_pin_set_dt(&dev->pd_sck, 0);
		k_busy_wait(HX711_SCK_HALF_PERIOD_US);
	}

	// Zusatzpulse: Kanal + Gain für die nächste Wandlung
	for (int i = 0; i <= (int)gain; i++) {
		gpio_pin_set_dt(&dev->pd_sck, 1);
		k_busy_wait(HX711_SCK_HALF_PERIOD_US);
		gpio_pin_set_dt(&dev->pd_sck, 0);
		k_busy_wait(HX711_SCK_HALF_PERIOD_US);
	}

	irq_unlock(key);

	return data;
}

int hx711_init(hx711_t *dev)
{
	if (!dev || !gpio_is_ready_dt(&dev->dout) || !gpio_is_ready_dt(&dev->pd_sck)) {
		return -ENODEV;
	}

	int ret = gpio_pin_configure_dt(&dev->dout, GPIO_INPUT);
	if (ret) {
		return ret;
	}
	ret = gpio_pin_configure_dt(&dev->pd_sck, GPIO_OUTPUT_INACTIVE);
	if (ret) {
		return ret;
	}

	ret = hx711_power_down(dev, false);
	if (ret) {
		return ret;
	}

	return hx711_set_gain(dev, dev->gain);
}

int hx711_power_down(hx711_t *dev, bool down)
{
	int ret = gpio_pin_set_dt(&dev->pd_sck, down);
	k_msleep(1);
	return ret;
}

int hx711_set_gain(hx711_t *dev, hx711_gain_t gain)
{
	if (gain > HX711_GAIN_A_64) {
		return -EINVAL;
	}

	int ret = hx711_wait(dev, 200);
	if (ret) {
		return ret;
	}

	read_raw(dev, gain);
	dev->gain = gain;

	return 0;
}

int hx711_wait(hx711_t *dev, uint32_t timeout_ms)
{
	k_timepoint_t end = sys_timepoint_calc(K_MSEC(timeout_ms));

	while (!sys_timepoint_expired(end)) {
		if (gpio_pin_get_dt(&dev->dout) == 0) {
			return 0;
		}
		k_msleep(1);
	}

	return -EAGAIN;
}

int hx711_read_data(hx711_t *dev, int32_t *data)
{
	if (!data) {
		return -EINVAL;
	}

	uint32_t raw = read_raw(dev, dev->gain);
	if (raw & 0x800000) {
		raw |= 0xff000000;
	}
	*data = (int32_t)raw;

	return 0;
}
```
